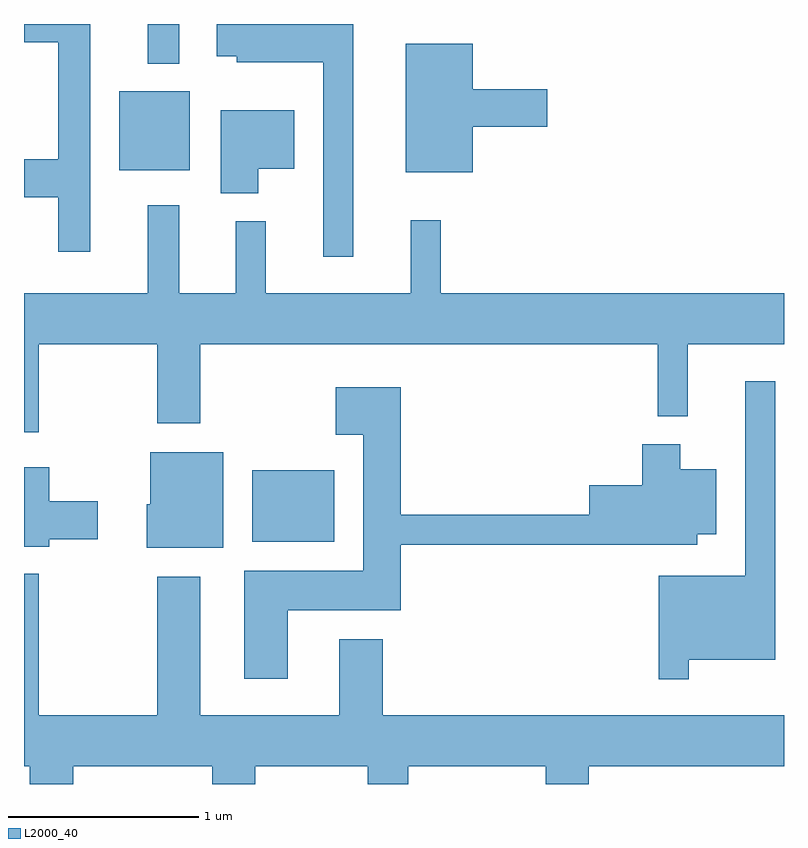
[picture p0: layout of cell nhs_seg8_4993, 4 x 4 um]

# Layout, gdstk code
import gdstk
lib = gdstk.Library(unit=1e-6, precision=1e-09)
def R(c, l, rs):  # rectangles x0, y0, x1, y1
    for r in rs: c.add(gdstk.rectangle(r[:2], r[2:], *l))
def P(c, l, *ps):  # polygons
    for p in ps: c.add(gdstk.Polygon(p, *l))
L2000_40 = (2000, 40)

nhs_seg8_4993 = lib.new_cell('nhs_seg8_4993')
R(nhs_seg8_4993, L2000_40, [(336.811,1817.616,337.244,1817.994), (336.111,1819.571,336.484,1819.989), (336.261,1820.133,336.429,1820.342)])
P(nhs_seg8_4993, L2000_40, [(335.959,1820.342),(335.611,1820.342),(335.611,1820.246),(335.791,1820.246),(335.791,1819.629),(335.611,1819.629),(335.611,1819.431),(335.791,1819.431),(335.791,1819.143),(335.959,1819.143)],
  [(337.344,1820.342),(336.626,1820.342),(336.626,1820.171),(336.731,1820.171),(336.731,1820.141),(337.186,1820.141),(337.186,1819.118),(337.344,1819.118)],
  [(337.974,1819.801),(338.364,1819.801),(338.364,1819.999),(337.974,1819.999),(337.974,1820.239),(337.621,1820.239),(337.621,1819.561),(337.974,1819.561)],
  [(336.844,1819.581),(337.034,1819.581),(337.034,1819.889),(336.646,1819.889),(336.646,1819.451),(336.844,1819.451)],
  [(335.689,1818.656),(336.311,1818.656),(336.311,1818.241),(336.539,1818.241),(336.539,1818.656),(338.946,1818.656),(338.946,1818.278),(339.104,1818.278),(339.104,1818.656),(339.611,1818.656),(339.611,1818.924),(337.804,1818.924),(337.804,1819.308),(337.646,1819.308),(337.646,1818.924),(336.884,1818.924),(336.884,1819.303),(336.726,1819.303),(336.726,1818.924),(336.429,1818.924),(336.429,1819.388),(336.261,1819.388),(336.261,1818.924),(335.611,1818.924),(335.611,1818.193),(335.689,1818.193)],
  [(339.109,1816.996),(339.564,1816.996),(339.564,1818.463),(339.406,1818.463),(339.406,1817.439),(338.951,1817.439),(338.951,1816.893),(339.109,1816.893)],
  [(336.999,1817.256),(337.594,1817.256),(337.594,1817.601),(339.154,1817.601),(339.154,1817.656),(339.254,1817.656),(339.254,1817.999),(339.064,1817.999),(339.064,1818.129),(338.866,1818.129),(338.866,1817.914),(338.586,1817.914),(338.586,1817.759),(337.594,1817.759),(337.594,1818.429),(337.251,1818.429),(337.251,1818.181),(337.396,1818.181),(337.396,1817.464),(336.771,1817.464),(336.771,1816.896),(336.999,1816.896)],
  [(336.659,1818.089),(336.276,1818.089),(336.276,1817.814),(336.256,1817.814),(336.256,1817.586),(336.659,1817.586)],
  [(335.744,1817.631),(335.999,1817.631),(335.999,1817.829),(335.744,1817.829),(335.744,1818.009),(335.611,1818.009),(335.611,1817.591),(335.744,1817.591)],
  [(335.869,1816.436),(336.601,1816.436),(336.601,1816.342),(336.829,1816.342),(336.829,1816.436),(337.421,1816.436),(337.421,1816.342),(337.634,1816.342),(337.634,1816.436),(338.356,1816.436),(338.356,1816.342),(338.584,1816.342),(338.584,1816.436),(339.611,1816.436),(339.611,1816.704),(337.499,1816.704),(337.499,1817.104),(337.271,1817.104),(337.271,1816.704),(336.539,1816.704),(336.539,1817.434),(336.311,1817.434),(336.311,1816.704),(335.689,1816.704),(335.689,1817.448),(335.611,1817.448),(335.611,1816.436),(335.641,1816.436),(335.641,1816.342),(335.869,1816.342)])

lib.write_gds('nhs_seg8_4993.gds')
